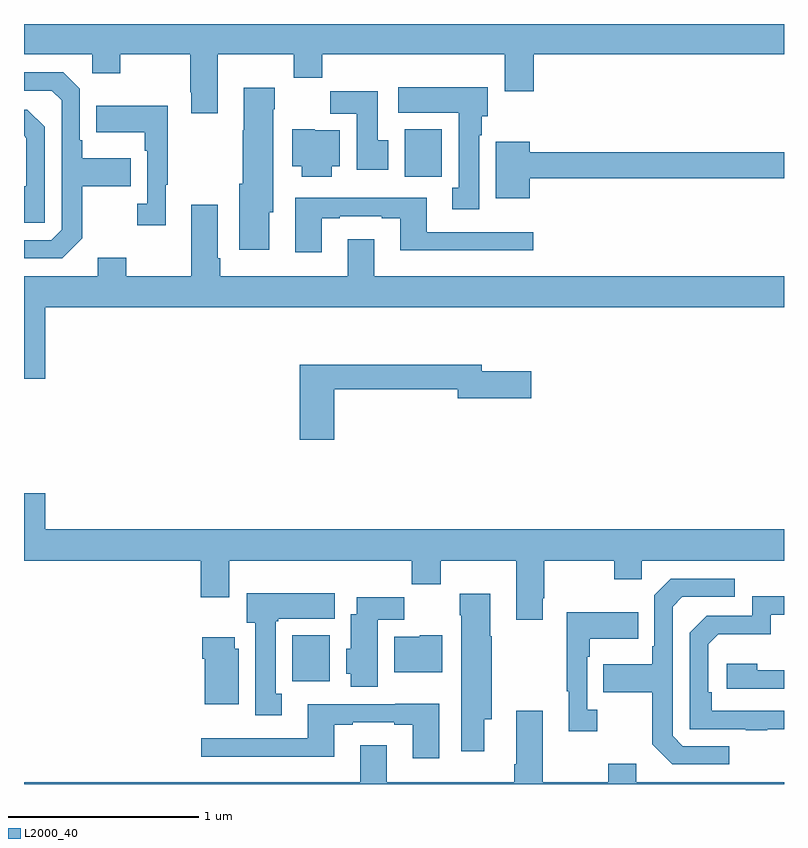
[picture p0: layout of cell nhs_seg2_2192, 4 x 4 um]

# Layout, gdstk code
import gdstk
lib = gdstk.Library(unit=1e-6, precision=1e-09)
def R(c, l, rs):  # rectangles x0, y0, x1, y1
    for r in rs: c.add(gdstk.rectangle(r[:2], r[2:], *l))
def P(c, l, *ps):  # polygons
    for p in ps: c.add(gdstk.Polygon(p, *l))
L2000_40 = (2000, 40)

nhs_seg2_2192 = lib.new_cell('nhs_seg2_2192')
R(nhs_seg2_2192, L2000_40, [(226.412,640.34,226.609,640.582), (227.003,642.996,227.199,643.246)])
P(nhs_seg2_2192, L2000_40, [(226.021,643.64),(226.42,643.64),(226.42,643.516),(226.571,643.516),(226.571,643.64),(227.531,643.64),(227.531,643.446),(227.684,643.446),(227.684,643.64),(229,643.64),(229,643.8),(225,643.8),(225,643.64),(225.36,643.64),(225.36,643.541),(225.507,643.541),(225.507,643.64),(225.874,643.64),(225.874,643.441),(225.881,643.441),(225.881,643.329),(226.021,643.329)],
  [(225.307,642.673),(225.307,642.946),(225.563,642.946),(225.563,643.093),(225.307,643.093),(225.307,643.189),(225.294,643.189),(225.294,643.458),(225.207,643.545),(225,643.545),(225,643.449),(225.147,643.449),(225.198,643.398),(225.198,642.717),(225.144,642.663),(225,642.663),(225,642.567),(225.201,642.567)],
  [(227.395,643.214),(227.41,643.214),(227.41,643.314),(227.44,643.314),(227.44,643.468),(226.971,643.468),(226.971,643.334),(227.288,643.334),(227.288,642.937),(227.255,642.937),(227.255,642.825),(227.395,642.825)],
  [(226.291,642.81),(226.312,642.81),(226.312,643.352),(226.32,643.352),(226.32,643.465),(226.157,643.465),(226.157,643.241),(226.15,643.241),(226.15,642.96),(226.133,642.96),(226.133,642.612),(226.291,642.612)],
  [(226.918,643.188),(226.861,643.188),(226.861,643.447),(226.612,643.447),(226.612,643.328),(226.751,643.328),(226.751,643.032),(226.918,643.032)],
  [(225.745,642.953),(225.757,642.953),(225.757,643.369),(225.379,643.369),(225.379,643.229),(225.636,643.229),(225.636,643.133),(225.648,643.133),(225.648,642.854),(225.597,642.854),(225.597,642.741),(225.745,642.741)],
  [(225.108,643.26),(225.018,643.35),(225,643.35),(225,643.212),(225.012,643.2),(225.012,642.946),(225,642.946),(225,642.753),(225.108,642.753)],
  [(226.621,643.052),(226.663,643.052),(226.663,643.24),(226.53,643.24),(226.53,643.246),(226.412,643.246),(226.412,643.052),(226.463,643.052),(226.463,642.995),(226.621,642.995)],
  [(227.662,642.988),(229,642.988),(229,643.124),(227.662,643.124),(227.662,643.18),(227.483,643.18),(227.483,642.884),(227.662,642.884)],
  [(226.567,642.777),(226.663,642.777),(226.663,642.789),(226.883,642.789),(226.883,642.777),(226.979,642.777),(226.979,642.608),(227.68,642.608),(227.68,642.705),(227.119,642.705),(227.119,642.886),(226.427,642.886),(226.427,642.6),(226.567,642.6)],
  [(225.112,642.308),(229,642.308),(229,642.472),(226.843,642.472),(226.843,642.667),(226.703,642.667),(226.703,642.472),(226.034,642.472),(226.034,642.568),(226.021,642.568),(226.021,642.85),(225.881,642.85),(225.881,642.472),(225.537,642.472),(225.537,642.571),(225.389,642.571),(225.389,642.472),(225,642.472),(225,641.934),(225.112,641.934)],
  [(226.634,641.878),(227.282,641.878),(227.282,641.831),(227.671,641.831),(227.671,641.973),(227.41,641.973),(227.41,642.007),(226.451,642.007),(226.451,641.613),(226.634,641.613)],
  [(227.731,640.777),(227.739,640.777),(227.739,640.976),(228.106,640.976),(228.106,640.877),(228.252,640.877),(228.252,640.976),(229,640.976),(229,641.14),(225.112,641.14),(225.112,641.329),(225,641.329),(225,640.976),(225.929,640.976),(225.929,640.782),(226.081,640.782),(226.081,640.976),(227.041,640.976),(227.041,640.852),(227.193,640.852),(227.193,640.976),(227.591,640.976),(227.591,640.665),(227.731,640.665)],
  [(228.712,639.999),(228.468,639.999),(228.414,640.053),(228.414,640.734),(228.465,640.785),(228.742,640.785),(228.742,640.881),(228.405,640.881),(228.318,640.794),(228.318,640.525),(228.306,640.525),(228.306,640.429),(228.049,640.429),(228.049,640.282),(228.306,640.282),(228.306,640.009),(228.411,639.903),(228.712,639.903)],
  [(226.357,640.274),(226.324,640.274),(226.324,640.657),(226.338,640.657),(226.338,640.67),(226.636,640.67),(226.636,640.804),(226.172,640.804),(226.172,640.65),(226.217,640.65),(226.217,640.161),(226.357,640.161)],
  [(227.422,640.142),(227.463,640.142),(227.463,640.577),(227.455,640.577),(227.455,640.801),(227.293,640.801),(227.293,640.688),(227.3,640.688),(227.3,639.972),(227.422,639.972)],
  [(228.911,640.089),(229,640.089),(229,640.185),(228.62,640.185),(228.62,640.282),(228.6,640.282),(228.6,640.536),(228.653,640.589),(228.93,640.589),(228.93,640.692),(229,640.692),(229,640.788),(228.834,640.788),(228.834,640.686),(228.594,640.686),(228.504,640.596),(228.504,640.089),(228.799,640.089),(228.799,640.084),(228.911,640.084)],
  [(226.861,640.664),(227,640.664),(227,640.783),(226.751,640.783),(226.751,640.693),(226.721,640.693),(226.721,640.512),(226.697,640.512),(226.697,640.38),(226.721,640.38),(226.721,640.313),(226.861,640.313)],
  [(228.016,640.19),(227.964,640.19),(227.964,640.469),(227.977,640.469),(227.977,640.565),(228.233,640.565),(228.233,640.705),(227.856,640.705),(227.856,640.289),(227.867,640.289),(227.867,640.077),(228.016,640.077)],
  [(227.2,640.582),(227.082,640.582),(227.082,640.576),(226.949,640.576),(226.949,640.388),(227.2,640.388)],
  [(226.129,640.512),(226.108,640.512),(226.108,640.573),(225.938,640.573),(225.938,640.46),(225.95,640.46),(225.95,640.22),(226.129,640.22)],
  [(229,640.398),(228.86,640.398),(228.86,640.432),(228.699,640.432),(228.699,640.302),(229,640.302)],
  [(227.185,640.222),(226.953,640.222),(226.953,640.221),(226.493,640.221),(226.493,640.041),(225.933,640.041),(225.933,639.944),(226.633,639.944),(226.633,640.113),(226.729,640.113),(226.729,640.125),(226.949,640.125),(226.949,640.113),(227.045,640.113),(227.045,639.936),(227.185,639.936)],
  [(229,639.808),(228.223,639.808),(228.223,639.907),(228.076,639.907),(228.076,639.808),(227.731,639.808),(227.731,640.186),(227.591,640.186),(227.591,639.904),(227.579,639.904),(227.579,639.808),(226.909,639.808),(226.909,640.003),(226.769,640.003),(226.769,639.808),(225,639.808),(225,639.8),(229,639.8)])

lib.write_gds('nhs_seg2_2192.gds')
